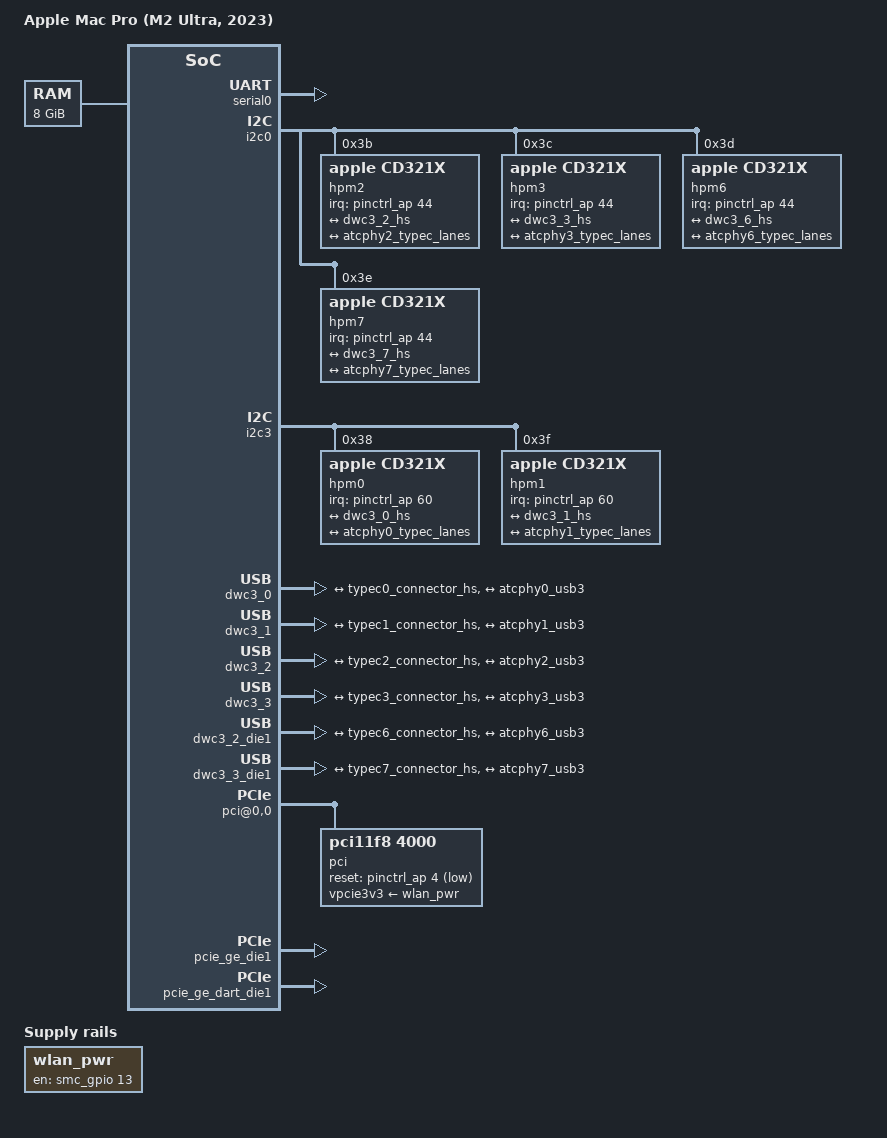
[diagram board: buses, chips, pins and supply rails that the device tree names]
// SPDX-License-Identifier: GPL-2.0+ OR MIT
/*
 * Mac Pro (M2 Ultra, 2023)
 *
 * target-type: J180d
 *
 * Copyright The Asahi Linux Contributors
 */

/dts-v1/;

#include "t6022.dtsi"
#include "t6022-jxxxd.dtsi"
#include "t6022-pcie-ge.dtsi"

/ {
	compatible = "apple,j180d", "apple,t6022", "apple,arm-platform";
	model = "Apple Mac Pro (M2 Ultra, 2023)";
	chassis-type = "server";

	aliases {
		atcphy0 = &atcphy0;
		atcphy1 = &atcphy1;
		atcphy2 = &atcphy2;
		atcphy3 = &atcphy3;
		atcphy4 = &atcphy0_die1;
		atcphy5 = &atcphy1_die1;
		atcphy6 = &atcphy2_die1;
		atcphy7 = &atcphy3_die1;
		bluetooth0 = &bluetooth0;
		nvram = &nvram;
		serial0 = &serial0;
		wifi0 = &wifi0;
	};

	chosen {
		#address-cells = <2>;
		#size-cells = <2>;
		ranges;

		stdout-path = "serial0";

		framebuffer0: framebuffer@0 {
			compatible = "apple,simple-framebuffer", "simple-framebuffer";
			reg = <0 0 0 0>; /* To be filled by loader */
			/* Format properties will be added by loader */
			status = "disabled";
			power-domains = <&ps_dispext0_cpu0_die1>, <&ps_dptx_phy_ps_die1>;
		};
	};

	memory@10000000000 {
		device_type = "memory";
		reg = <0x100 0 0x2 0>; /* To be filled by loader */
	};

	wlan_pwr: regulator-wlan-pwr {
		compatible = "regulator-fixed";
		enable-active-high;
		gpio = <&smc_gpio 13 GPIO_ACTIVE_HIGH>;
		regulator-boot-on;
		regulator-name = "wlan-pwr";
		startup-delay-us = <100000>;
	};
};

&serial0 {
	status = "okay";
};

/* USB Type C Rear */
&i2c0 {
	hpm2: usb-pd@3b {
		compatible = "apple,cd321x";
		reg = <0x3b>;
		interrupt-parent = <&pinctrl_ap>;
		interrupts = <44 IRQ_TYPE_LEVEL_LOW>;
		interrupt-names = "irq";

		typec2: connector {
			compatible = "usb-c-connector";
			label = "USB-C Back 1";
			power-role = "dual";
			data-role = "dual";

			ports {
				#address-cells = <1>;
				#size-cells = <0>;
				port@0 {
					reg = <0>;
					typec2_connector_hs: endpoint {
						remote-endpoint = <&dwc3_2_hs>;
					};
				};
				port@1 {
					reg = <1>;
					typec2_connector_ss: endpoint {
						remote-endpoint = <&atcphy2_typec_lanes>;
					};
				};
			};
		};
	};

	hpm3: usb-pd@3c {
		compatible = "apple,cd321x";
		reg = <0x3c>;
		interrupt-parent = <&pinctrl_ap>;
		interrupts = <44 IRQ_TYPE_LEVEL_LOW>;
		interrupt-names = "irq";

		typec3: connector {
			compatible = "usb-c-connector";
			label = "USB-C Back 2";
			power-role = "dual";
			data-role = "dual";

			ports {
				#address-cells = <1>;
				#size-cells = <0>;
				port@0 {
					reg = <0>;
					typec3_connector_hs: endpoint {
						remote-endpoint = <&dwc3_3_hs>;
					};
				};
				port@1 {
					reg = <1>;
					typec3_connector_ss: endpoint {
						remote-endpoint = <&atcphy3_typec_lanes>;
					};
				};
			};
		};
	};

	/* hpm4 and hpm5 included from t6022-jxxxd.dtsi */

	hpm6: usb-pd@3d {
		compatible = "apple,cd321x";
		reg = <0x3d>;
		interrupt-parent = <&pinctrl_ap>;
		interrupts = <44 IRQ_TYPE_LEVEL_LOW>;
		interrupt-names = "irq";

		typec6: connector {
			compatible = "usb-c-connector";
			label = "USB-C Back 5";
			power-role = "dual";
			data-role = "dual";

			ports {
				#address-cells = <1>;
				#size-cells = <0>;
				port@0 {
					reg = <0>;
					typec6_connector_hs: endpoint {
						remote-endpoint = <&dwc3_6_hs>;
					};
				};
				port@1 {
					reg = <1>;
					typec6_connector_ss: endpoint {
						remote-endpoint = <&atcphy6_typec_lanes>;
					};
				};
			};
		};
	};

	hpm7: usb-pd@3e {
		compatible = "apple,cd321x";
		reg = <0x3e>;
		interrupt-parent = <&pinctrl_ap>;
		interrupts = <44 IRQ_TYPE_LEVEL_LOW>;
		interrupt-names = "irq";

		typec7: connector {
			compatible = "usb-c-connector";
			label = "USB-C Back 6";
			power-role = "dual";
			data-role = "dual";

			ports {
				#address-cells = <1>;
				#size-cells = <0>;
				port@0 {
					reg = <0>;
					typec7_connector_hs: endpoint {
						remote-endpoint = <&dwc3_7_hs>;
					};
				};
				port@1 {
					reg = <1>;
					typec7_connector_ss: endpoint {
						remote-endpoint = <&atcphy7_typec_lanes>;
					};
				};
			};
		};
	};
};

&typec4 {
	label = "USB-C Back 3";
};

&typec5 {
	label = "USB-C Back 4";
};

/* USB Type C Front */
&i2c3 {
	status = "okay";

	hpm0: usb-pd@38 {
		compatible = "apple,cd321x";
		reg = <0x38>;
		interrupt-parent = <&pinctrl_ap>;
		interrupts = <60 IRQ_TYPE_LEVEL_LOW>;
		interrupt-names = "irq";

		typec0: connector {
			compatible = "usb-c-connector";
			label = "USB-C Top Right";
			power-role = "dual";
			data-role = "dual";

			ports {
				#address-cells = <1>;
				#size-cells = <0>;
				port@0 {
					reg = <0>;
					typec0_connector_hs: endpoint {
						remote-endpoint = <&dwc3_0_hs>;
					};
				};
				port@1 {
					reg = <1>;
					typec0_connector_ss: endpoint {
						remote-endpoint = <&atcphy0_typec_lanes>;
					};
				};
			};
		};
	};

	hpm1: usb-pd@3f {
		compatible = "apple,cd321x";
		reg = <0x3f>;
		interrupt-parent = <&pinctrl_ap>;
		interrupts = <60 IRQ_TYPE_LEVEL_LOW>;
		interrupt-names = "irq";

		typec1: connector {
			compatible = "usb-c-connector";
			label = "USB-C Top Left";
			power-role = "dual";
			data-role = "dual";

			ports {
				#address-cells = <1>;
				#size-cells = <0>;
				port@0 {
					reg = <0>;
					typec1_connector_hs: endpoint {
						remote-endpoint = <&dwc3_1_hs>;
					};
				};
				port@1 {
					reg = <1>;
					typec1_connector_ss: endpoint {
						remote-endpoint = <&atcphy1_typec_lanes>;
					};
				};
			};
		};
	};
};

/* USB controllers */
&dwc3_0 {
	ports {
		#address-cells = <1>;
		#size-cells = <0>;

		port@0 {
			reg = <0>;
			dwc3_0_hs: endpoint {
				remote-endpoint = <&typec0_connector_hs>;
			};
		};

		port@1 {
			reg = <1>;
			dwc3_0_ss: endpoint {
				remote-endpoint = <&atcphy0_usb3>;
			};
		};
	};
};

&dwc3_1 {
	ports {
		#address-cells = <1>;
		#size-cells = <0>;

		port@0 {
			reg = <0>;
			dwc3_1_hs: endpoint {
				remote-endpoint = <&typec1_connector_hs>;
			};
		};

		port@1 {
			reg = <1>;
			dwc3_1_ss: endpoint {
				remote-endpoint = <&atcphy1_usb3>;
			};
		};
	};
};

&dwc3_2 {
	ports {
		#address-cells = <1>;
		#size-cells = <0>;

		port@0 {
			reg = <0>;
			dwc3_2_hs: endpoint {
				remote-endpoint = <&typec2_connector_hs>;
			};
		};

		port@1 {
			reg = <1>;
			dwc3_2_ss: endpoint {
				remote-endpoint = <&atcphy2_usb3>;
			};
		};
	};
};

&dwc3_3 {
	ports {
		#address-cells = <1>;
		#size-cells = <0>;

		port@0 {
			reg = <0>;
			dwc3_3_hs: endpoint {
				remote-endpoint = <&typec3_connector_hs>;
			};
		};

		port@1 {
			reg = <1>;
			dwc3_3_ss: endpoint {
				remote-endpoint = <&atcphy3_usb3>;
			};
		};
	};
};

/* USB controllers on die 1 */
&dwc3_2_die1 {
	ports {
		#address-cells = <1>;
		#size-cells = <0>;

		port@0 {
			reg = <0>;
			dwc3_6_hs: endpoint {
				remote-endpoint = <&typec6_connector_hs>;
			};
		};

		port@1 {
			reg = <1>;
			dwc3_6_ss: endpoint {
				remote-endpoint = <&atcphy6_usb3>;
			};
		};
	};
};

&dwc3_3_die1 {
	ports {
		#address-cells = <1>;
		#size-cells = <0>;

		port@0 {
			reg = <0>;
			dwc3_7_hs: endpoint {
				remote-endpoint = <&typec7_connector_hs>;
			};
		};

		port@1 {
			reg = <1>;
			dwc3_7_ss: endpoint {
				remote-endpoint = <&atcphy7_usb3>;
			};
		};
	};
};

/* Type-C PHYs */
&atcphy0 {
	ports {
		#address-cells = <1>;
		#size-cells = <0>;

		port@0 {
			reg = <0>;
			atcphy0_typec_lanes: endpoint {
				remote-endpoint = <&typec0_connector_ss>;
			};
		};

		port@1 {
			reg = <1>;
			atcphy0_usb3: endpoint {
				remote-endpoint = <&dwc3_0_ss>;
			};
		};
	};
};

&atcphy1 {
	ports {
		#address-cells = <1>;
		#size-cells = <0>;

		port@0 {
			reg = <0>;
			atcphy1_typec_lanes: endpoint {
				remote-endpoint = <&typec1_connector_ss>;
			};
		};

		port@1 {
			reg = <1>;
			atcphy1_usb3: endpoint {
				remote-endpoint = <&dwc3_1_ss>;
			};
		};
	};
};

&atcphy2 {
	ports {
		#address-cells = <1>;
		#size-cells = <0>;

		port@0 {
			reg = <0>;
			atcphy2_typec_lanes: endpoint {
				remote-endpoint = <&typec2_connector_ss>;
			};
		};

		port@1 {
			reg = <1>;
			atcphy2_usb3: endpoint {
				remote-endpoint = <&dwc3_2_ss>;
			};
		};
	};
};

&atcphy3 {
	ports {
		#address-cells = <1>;
		#size-cells = <0>;

		port@0 {
			reg = <0>;
			atcphy3_typec_lanes: endpoint {
				remote-endpoint = <&typec3_connector_ss>;
			};
		};

		port@1 {
			reg = <1>;
			atcphy3_usb3: endpoint {
				remote-endpoint = <&dwc3_3_ss>;
			};
		};
	};
};

&atcphy2_die1 {
	ports {
		#address-cells = <1>;
		#size-cells = <0>;

		port@0 {
			reg = <0>;
			atcphy6_typec_lanes: endpoint {
				remote-endpoint = <&typec6_connector_ss>;
			};
		};

		port@1 {
			reg = <1>;
			atcphy6_usb3: endpoint {
				remote-endpoint = <&dwc3_6_ss>;
			};
		};
	};
};

&atcphy3_die1 {
	ports {
		#address-cells = <1>;
		#size-cells = <0>;

		port@0 {
			reg = <0>;
			atcphy7_typec_lanes: endpoint {
				remote-endpoint = <&typec7_connector_ss>;
			};
		};

		port@1 {
			reg = <1>;
			atcphy7_usb3: endpoint {
				remote-endpoint = <&dwc3_7_ss>;
			};
		};
	};
};

/* PCIe devices */
&port_ge00_die1 {
	bus-range = <0x01 0x09>;

	pci@0,0 {
		device_type = "pci";
		compatible = "pci11f8,4000", "pciclass,060400", "pciclass,0604";
		reg = <0x10000 0x0 0x0 0x0 0x0>;
		ranges;
		#address-cells = <3>;
		bus-range = <0x02 0x09>;

		#size-cells = <2>;

		pci@5,0 {
			device_type = "pci";
			compatible =
				"pci11f8,4000", "pciclass,060400", "pciclass,0604";
			reg = <0x22800 0x0 0x0 0x0 0x0>;
			ranges;
			#address-cells = <3>;
			bus-range = <0x08 0x08>;
			#interrupt-cells = <1>;
			interrupt-controller;
			interrupt-map =
				<0x80000 0x0 0x0 0x1 &port_ge00_die1 0x0 0x0 0x0 0x0>,
					<0x80000 0x0 0x0 0x2 &port_ge00_die1 0x0 0x0 0x0 0x1>,
					<0x80000 0x0 0x0 0x3 &port_ge00_die1 0x0 0x0 0x0 0x2>,
					<0x80100 0x0 0x0 0x1 &port_ge00_die1 0x0 0x0 0x0 0x0>,
					<0x80100 0x0 0x0 0x2 &port_ge00_die1 0x0 0x0 0x0 0x1>,
					<0x80100 0x0 0x0 0x3 &port_ge00_die1 0x0 0x0 0x0 0x2>;
			interrupt-map-mask = <0 0 0 7>;
			reset-gpios = <&pinctrl_ap 4 GPIO_ACTIVE_LOW>;
			#size-cells = <2>;
			vpcie3v3-supply = <&wlan_pwr>;

			wifi0: wifi@0,0 {
				compatible = "pci14e4,4433";
				reg = <0x80000 0x0 0x0 0x0 0x0>;
				/* To be filled by the loader */
				local-mac-address = [00 10 18 00 00 10];
				apple,antenna-sku = "XX";
				brcm,board-type = "apple,sumatra";
			};

			bluetooth0: bluetooth@0,1 {
				compatible = "pci14e4,5f71";
				reg = <0x80100 0x0 0x0 0x0 0x0>;
				/* To be filled by the loader */
				local-bd-address = [00 00 00 00 00 00];
				brcm,board-type = "apple,sumatra";
			};
		};
	};
};

&pcie_ge_die1 {
	status = "okay";
};

&pcie_ge_dart_die1 {
	status = "okay";
};

/*
 * Delete unused PCIe nodes, the Mac Pro uses slightly different PCIe
 * controllers with a single port connected to a PM40100 PCIe switch
 */
/delete-node/ &pcie0;
/delete-node/ &pcie0_dart_0;
/delete-node/ &pcie0_dart_1;
/delete-node/ &pcie0_dart_2;
/delete-node/ &pcie0_dart_3;

&nco_clkref {
	clock-frequency = <1068000000>;
};

#include "spi1-nvram.dtsi"
